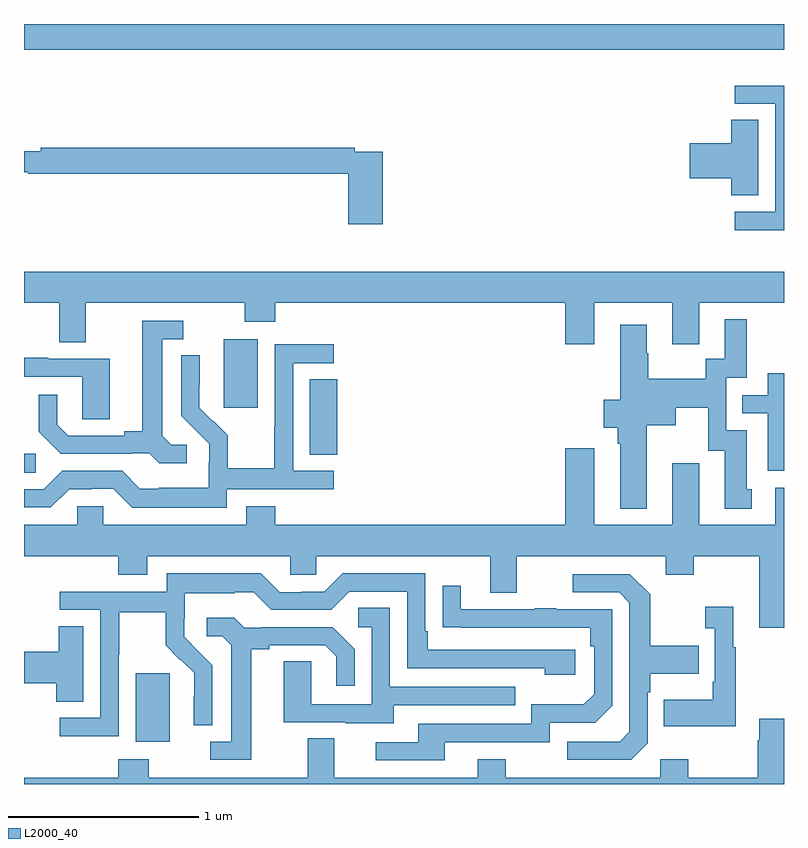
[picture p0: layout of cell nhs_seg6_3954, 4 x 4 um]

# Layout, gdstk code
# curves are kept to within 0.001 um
import gdstk
lib = gdstk.Library(unit=1e-6, precision=1e-09)
def R(c, l, rs):  # rectangles x0, y0, x1, y1
    for r in rs: c.add(gdstk.rectangle(r[:2], r[2:], *l))
def P(c, l, *ps):  # polygons
    for p in ps: c.add(gdstk.Polygon(p, *l))
L2000_40 = (2000, 40)

nhs_seg6_3954 = lib.new_cell('nhs_seg6_3954')
R(nhs_seg6_3954, L2000_40, [(345.587,915.722,345.766,916.083), (345,917.137,345.061,917.238), (346.505,917.233,346.649,917.63), (346.052,917.481,346.231,917.842), (345,919.364,349,919.5)])
P(nhs_seg6_3954, L2000_40, [(349,919.176),(348.741,919.176),(348.741,919.08),(348.954,919.08),(348.954,918.513),(348.741,918.513),(348.741,918.415),(349,918.415)],
  [(348.865,918.995),(348.722,918.995),(348.722,918.872),(348.504,918.872),(348.504,918.689),(348.722,918.689),(348.722,918.598),(348.865,918.598)],
  [(346.889,918.828),(346.742,918.828),(346.742,918.848),(345.088,918.848),(345.088,918.829),(345,918.829),(345,918.72),(345.022,918.72),(345.022,918.712),(346.706,918.712),(346.706,918.447),(346.889,918.447)],
  [(348.001,918.032),(348.413,918.032),(348.413,917.814),(348.553,917.814),(348.553,918.032),(349,918.032),(349,918.196),(345,918.196),(345,918.032),(345.185,918.032),(345.185,917.824),(345.325,917.824),(345.325,918.032),(346.162,918.032),(346.162,917.933),(346.322,917.933),(346.322,918.032),(347.849,918.032),(347.849,917.814),(348.001,917.814)],
  [(348.277,917.387),(348.43,917.387),(348.43,917.48),(348.6,917.48),(348.6,917.253),(348.689,917.253),(348.689,916.95),(348.829,916.95),(348.829,917.052),(348.805,917.052),(348.805,917.361),(348.696,917.361),(348.696,917.637),(348.805,917.637),(348.805,917.947),(348.689,917.947),(348.689,917.738),(348.588,917.738),(348.588,917.632),(348.285,917.632),(348.285,917.766),(348.277,917.766),(348.277,917.917),(348.137,917.917),(348.137,917.522),(348.05,917.522),(348.05,917.375),(348.125,917.375),(348.125,917.291),(348.137,917.291),(348.137,916.949),(348.277,916.949)],
  [(345.856,917.286),(345.774,917.286),(345.727,917.333),(345.727,917.841),(345.838,917.841),(345.838,917.937),(345.623,917.937),(345.623,917.357),(345.527,917.357),(345.527,917.334),(345.232,917.334),(345.175,917.391),(345.175,917.548),(345.078,917.548),(345.078,917.354),(345.194,917.238),(345.566,917.238),(345.566,917.241),(345.66,917.241),(345.712,917.189),(345.856,917.189)],
  [(346.068,917.052),(346.63,917.052),(346.63,917.148),(346.416,917.148),(346.416,917.715),(346.63,917.715),(346.63,917.814),(346.32,917.814),(346.32,917.384),(346.318,917.384),(346.318,917.161),(346.073,917.161),(346.073,917.335),(345.996,917.412),(345.993,917.409),(345.923,917.48),(345.924,917.756),(345.828,917.756),(345.828,917.438),(345.974,917.29),(345.974,917.193),(345.972,917.193),(345.972,917.059),(345.709,917.059),(345.709,917.055),(345.609,917.055),(345.516,917.148),(345.201,917.148),(345.105,917.052),(345,917.052),(345,916.956),(345.141,916.956),(345.237,917.052),(345.356,917.052),(345.356,917.055),(345.471,917.055),(345.571,916.955),(346.068,916.955)],
  [(345.451,917.739),(345.127,917.739),(345.127,917.743),(345,917.743),(345,917.643),(345.306,917.643),(345.306,917.419),(345.451,917.419)],
  [(349,917.661),(348.915,917.661),(348.915,917.547),(348.781,917.547),(348.781,917.451),(348.915,917.451),(348.915,917.148),(349,917.148)],
  [(348.413,917.188),(348.413,916.864),(348.001,916.864),(348.001,917.266),(347.849,917.266),(347.849,916.864),(346.322,916.864),(346.322,916.963),(346.169,916.963),(346.169,916.864),(345.417,916.864),(345.417,916.962),(345.279,916.962),(345.279,916.864),(345,916.864),(345,916.7),(345.497,916.7),(345.497,916.601),(345.649,916.601),(345.649,916.7),(346.401,916.7),(346.401,916.602),(346.539,916.602),(346.539,916.7),(347.453,916.7),(347.453,916.506),(347.593,916.506),(347.593,916.7),(348.377,916.7),(348.377,916.601),(348.525,916.601),(348.525,916.7),(348.869,916.7),(348.869,916.323),(349,916.323),(349,917.059),(348.953,917.059),(348.953,916.864),(348.553,916.864),(348.553,917.188)],
  [(345.498,916.18),(345.501,916.18),(345.501,916.404),(345.745,916.404),(345.745,916.229),(345.822,916.152),(345.825,916.155),(345.896,916.085),(345.896,915.962),(345.894,915.962),(345.894,915.808),(345.99,915.808),(345.99,916.126),(345.844,916.274),(345.844,916.371),(345.846,916.371),(345.846,916.505),(346.109,916.505),(346.109,916.509),(346.209,916.509),(346.302,916.416),(346.617,916.416),(346.713,916.512),(347.016,916.512),(347.016,916.11),(347.741,916.11),(347.741,916.076),(347.902,916.076),(347.902,916.206),(347.125,916.206),(347.125,916.303),(347.112,916.303),(347.112,916.608),(346.677,916.608),(346.581,916.512),(346.463,916.512),(346.463,916.509),(346.347,916.509),(346.247,916.609),(345.75,916.609),(345.75,916.512),(345.189,916.512),(345.189,916.416),(345.402,916.416),(345.402,915.849),(345.189,915.849),(345.189,915.751),(345.498,915.751)],
  [(348.282,915.714),(348.282,915.983),(348.295,915.983),(348.295,916.079),(348.551,916.079),(348.551,916.227),(348.295,916.227),(348.295,916.499),(348.189,916.605),(347.889,916.605),(347.889,916.509),(348.132,916.509),(348.186,916.455),(348.186,915.774),(348.135,915.723),(347.859,915.723),(347.859,915.627),(348.195,915.627)],
  [(347.215,915.72),(347.766,915.72),(347.766,915.822),(348.006,915.822),(348.096,915.912),(348.096,916.419),(347.801,916.419),(347.801,916.424),(347.689,916.424),(347.689,916.419),(347.299,916.419),(347.299,916.543),(347.203,916.543),(347.203,916.324),(347.98,916.323),(347.98,916.226),(348,916.226),(348,915.972),(347.947,915.919),(347.67,915.919),(347.67,915.816),(347.075,915.816),(347.075,915.72),(346.851,915.72),(346.851,915.624),(347.215,915.624)],
  [(348.745,916.219),(348.733,916.219),(348.733,916.432),(348.585,916.432),(348.585,916.319),(348.636,916.319),(348.636,916.039),(348.624,916.039),(348.624,915.943),(348.367,915.943),(348.367,915.803),(348.745,915.803)],
  [(346.945,915.915),(347.585,915.915),(347.585,916.011),(346.926,916.011),(346.926,916.427),(346.758,916.427),(346.758,916.326),(346.83,916.326),(346.83,915.921),(346.512,915.921),(346.512,916.145),(346.367,916.145),(346.367,915.825),(346.691,915.825),(346.691,915.821),(346.945,915.821)],
  [(346.195,916.208),(346.291,916.208),(346.291,916.23),(346.586,916.23),(346.643,916.173),(346.643,916.017),(346.74,916.017),(346.74,916.21),(346.624,916.326),(346.252,916.326),(346.252,916.323),(346.158,916.323),(346.106,916.375),(345.963,916.375),(345.963,916.278),(346.044,916.278),(346.091,916.231),(346.091,915.723),(345.981,915.723),(345.981,915.627),(346.195,915.627)],
  [(345.313,916.331),(345.182,916.331),(345.182,916.195),(345,916.195),(345,916.03),(345.17,916.03),(345.17,915.934),(345.313,915.934)],
  [(349,915.844),(348.869,915.844),(348.869,915.731),(348.862,915.731),(348.862,915.532),(348.495,915.532),(348.495,915.631),(348.348,915.631),(348.348,915.532),(347.535,915.532),(347.535,915.631),(347.387,915.631),(347.387,915.532),(346.633,915.532),(346.633,915.74),(346.493,915.74),(346.493,915.532),(345.657,915.532),(345.657,915.631),(345.497,915.631),(345.497,915.532),(345,915.532),(345,915.5),(349,915.5)])

lib.write_gds('nhs_seg6_3954.gds')
